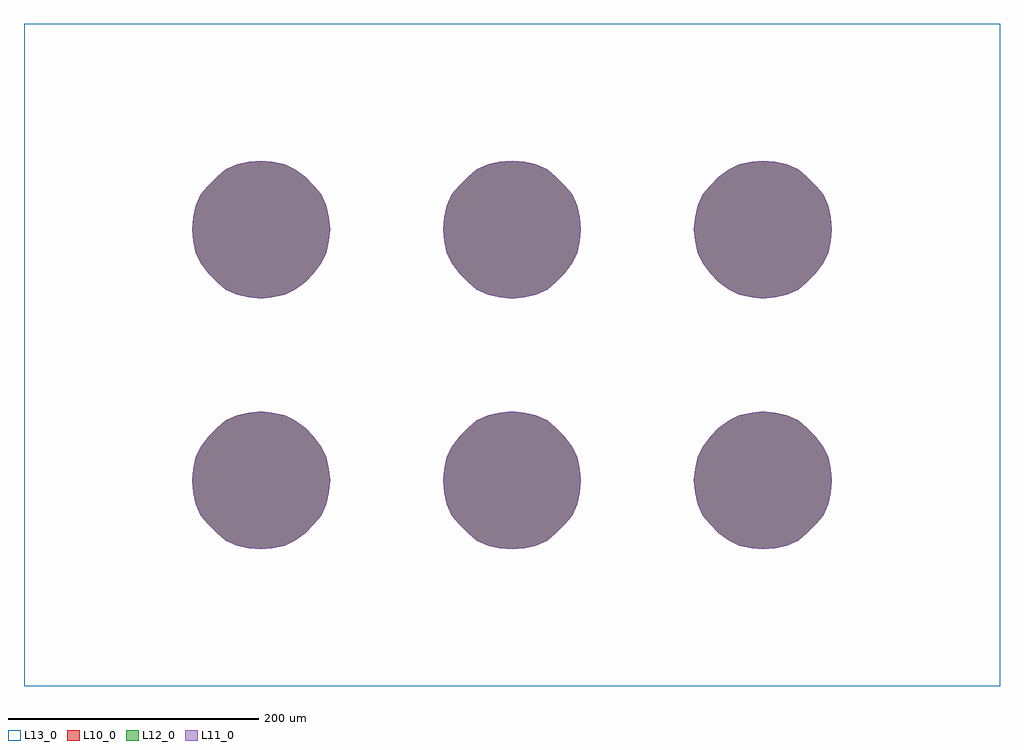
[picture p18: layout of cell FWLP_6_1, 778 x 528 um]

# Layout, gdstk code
import gdstk
lib = gdstk.Library(unit=1e-6, precision=1e-09)
def R(c, l, rs):  # rectangles x0, y0, x1, y1
    for r in rs: c.add(gdstk.rectangle(r[:2], r[2:], *l))
def P(c, l, *ps):  # polygons
    for p in ps: c.add(gdstk.Polygon(p, *l))
L10_0 = (10, 0)
L11_0 = (11, 0)
L12_0 = (12, 0)
L13_0 = (13, 0)

fwlp_6_1 = lib.new_cell('FWLP_6_1')
P(fwlp_6_1, L10_0, [(252,-119),(248,-128),(242,-135),(235,-142),(228,-148),(219,-152),(210,-154),(200,-155),(191,-154),(181,-152),(173,-148),(165,-142),(158,-135),(152,-128),(148,-119),(146,-110),(145,-100),(146,-91),(148,-81),(152,-73),(158,-65),(165,-58),(173,-52),(181,-48),(191,-46),(200,-45),(210,-46),(219,-48),(228,-52),(235,-58),(242,-65),(248,-73),(252,-81),(254,-91),(255,-100),(254,-110)],
  [(-148,81),(-152,73),(-158,65),(-165,58),(-173,52),(-181,48),(-191,46),(-200,45),(-210,46),(-219,48),(-228,52),(-235,58),(-242,65),(-248,73),(-252,81),(-254,91),(-255,100),(-254,110),(-252,119),(-248,128),(-242,135),(-235,142),(-228,148),(-219,152),(-210,154),(-200,155),(-191,154),(-181,152),(-173,148),(-165,142),(-158,135),(-152,128),(-148,119),(-146,110),(-145,100),(-146,91)],
  [(52,-119),(48,-128),(42,-135),(35,-142),(28,-148),(19,-152),(10,-154),(0,-155),(-10,-154),(-19,-152),(-28,-148),(-35,-142),(-42,-135),(-48,-128),(-52,-119),(-54,-110),(-55,-100),(-54,-91),(-52,-81),(-48,-73),(-42,-65),(-35,-58),(-28,-52),(-19,-48),(-10,-46),(0,-45),(10,-46),(19,-48),(28,-52),(35,-58),(42,-65),(48,-73),(52,-81),(54,-91),(55,-100),(54,-110)],
  [(-148,-119),(-152,-128),(-158,-135),(-165,-142),(-173,-148),(-181,-152),(-191,-154),(-200,-155),(-210,-154),(-219,-152),(-228,-148),(-235,-142),(-242,-135),(-248,-128),(-252,-119),(-254,-110),(-255,-100),(-254,-91),(-252,-81),(-248,-73),(-242,-65),(-235,-58),(-228,-52),(-219,-48),(-210,-46),(-200,-45),(-191,-46),(-181,-48),(-173,-52),(-165,-58),(-158,-65),(-152,-73),(-148,-81),(-146,-91),(-145,-100),(-146,-110)],
  [(252,81),(248,73),(242,65),(235,58),(228,52),(219,48),(210,46),(200,45),(191,46),(181,48),(173,52),(165,58),(158,65),(152,73),(148,81),(146,91),(145,100),(146,110),(148,119),(152,128),(158,135),(165,142),(173,148),(181,152),(191,154),(200,155),(210,154),(219,152),(228,148),(235,142),(242,135),(248,128),(252,119),(254,110),(255,100),(254,91)],
  [(52,81),(48,73),(42,65),(35,58),(28,52),(19,48),(10,46),(0,45),(-10,46),(-19,48),(-28,52),(-35,58),(-42,65),(-48,73),(-52,81),(-54,91),(-55,100),(-54,110),(-52,119),(-48,128),(-42,135),(-35,142),(-28,148),(-19,152),(-10,154),(0,155),(10,154),(19,152),(28,148),(35,142),(42,135),(48,128),(52,119),(54,110),(55,100),(54,91)])
P(fwlp_6_1, L11_0, [(52,-119),(48,-128),(42,-135),(35,-142),(28,-148),(19,-152),(10,-154),(0,-155),(-10,-154),(-19,-152),(-28,-148),(-35,-142),(-42,-135),(-48,-128),(-52,-119),(-54,-110),(-55,-100),(-54,-91),(-52,-81),(-48,-73),(-42,-65),(-35,-58),(-28,-52),(-19,-48),(-10,-46),(0,-45),(10,-46),(19,-48),(28,-52),(35,-58),(42,-65),(48,-73),(52,-81),(54,-91),(55,-100),(54,-110)],
  [(52,81),(48,73),(42,65),(35,58),(28,52),(19,48),(10,46),(0,45),(-10,46),(-19,48),(-28,52),(-35,58),(-42,65),(-48,73),(-52,81),(-54,91),(-55,100),(-54,110),(-52,119),(-48,128),(-42,135),(-35,142),(-28,148),(-19,152),(-10,154),(0,155),(10,154),(19,152),(28,148),(35,142),(42,135),(48,128),(52,119),(54,110),(55,100),(54,91)],
  [(252,81),(248,73),(242,65),(235,58),(228,52),(219,48),(210,46),(200,45),(191,46),(181,48),(173,52),(165,58),(158,65),(152,73),(148,81),(146,91),(145,100),(146,110),(148,119),(152,128),(158,135),(165,142),(173,148),(181,152),(191,154),(200,155),(210,154),(219,152),(228,148),(235,142),(242,135),(248,128),(252,119),(254,110),(255,100),(254,91)],
  [(-148,-119),(-152,-128),(-158,-135),(-165,-142),(-173,-148),(-181,-152),(-191,-154),(-200,-155),(-210,-154),(-219,-152),(-228,-148),(-235,-142),(-242,-135),(-248,-128),(-252,-119),(-254,-110),(-255,-100),(-254,-91),(-252,-81),(-248,-73),(-242,-65),(-235,-58),(-228,-52),(-219,-48),(-210,-46),(-200,-45),(-191,-46),(-181,-48),(-173,-52),(-165,-58),(-158,-65),(-152,-73),(-148,-81),(-146,-91),(-145,-100),(-146,-110)],
  [(252,-119),(248,-128),(242,-135),(235,-142),(228,-148),(219,-152),(210,-154),(200,-155),(191,-154),(181,-152),(173,-148),(165,-142),(158,-135),(152,-128),(148,-119),(146,-110),(145,-100),(146,-91),(148,-81),(152,-73),(158,-65),(165,-58),(173,-52),(181,-48),(191,-46),(200,-45),(210,-46),(219,-48),(228,-52),(235,-58),(242,-65),(248,-73),(252,-81),(254,-91),(255,-100),(254,-110)],
  [(-148,81),(-152,73),(-158,65),(-165,58),(-173,52),(-181,48),(-191,46),(-200,45),(-210,46),(-219,48),(-228,52),(-235,58),(-242,65),(-248,73),(-252,81),(-254,91),(-255,100),(-254,110),(-252,119),(-248,128),(-242,135),(-235,142),(-228,148),(-219,152),(-210,154),(-200,155),(-191,154),(-181,152),(-173,148),(-165,142),(-158,135),(-152,128),(-148,119),(-146,110),(-145,100),(-146,91)])
P(fwlp_6_1, L12_0, [(-148,-119),(-152,-128),(-158,-135),(-165,-142),(-173,-148),(-181,-152),(-191,-154),(-200,-155),(-210,-154),(-219,-152),(-228,-148),(-235,-142),(-242,-135),(-248,-128),(-252,-119),(-254,-110),(-255,-100),(-254,-91),(-252,-81),(-248,-73),(-242,-65),(-235,-58),(-228,-52),(-219,-48),(-210,-46),(-200,-45),(-191,-46),(-181,-48),(-173,-52),(-165,-58),(-158,-65),(-152,-73),(-148,-81),(-146,-91),(-145,-100),(-146,-110)],
  [(52,81),(48,73),(42,65),(35,58),(28,52),(19,48),(10,46),(0,45),(-10,46),(-19,48),(-28,52),(-35,58),(-42,65),(-48,73),(-52,81),(-54,91),(-55,100),(-54,110),(-52,119),(-48,128),(-42,135),(-35,142),(-28,148),(-19,152),(-10,154),(0,155),(10,154),(19,152),(28,148),(35,142),(42,135),(48,128),(52,119),(54,110),(55,100),(54,91)],
  [(-148,81),(-152,73),(-158,65),(-165,58),(-173,52),(-181,48),(-191,46),(-200,45),(-210,46),(-219,48),(-228,52),(-235,58),(-242,65),(-248,73),(-252,81),(-254,91),(-255,100),(-254,110),(-252,119),(-248,128),(-242,135),(-235,142),(-228,148),(-219,152),(-210,154),(-200,155),(-191,154),(-181,152),(-173,148),(-165,142),(-158,135),(-152,128),(-148,119),(-146,110),(-145,100),(-146,91)],
  [(252,-119),(248,-128),(242,-135),(235,-142),(228,-148),(219,-152),(210,-154),(200,-155),(191,-154),(181,-152),(173,-148),(165,-142),(158,-135),(152,-128),(148,-119),(146,-110),(145,-100),(146,-91),(148,-81),(152,-73),(158,-65),(165,-58),(173,-52),(181,-48),(191,-46),(200,-45),(210,-46),(219,-48),(228,-52),(235,-58),(242,-65),(248,-73),(252,-81),(254,-91),(255,-100),(254,-110)],
  [(252,81),(248,73),(242,65),(235,58),(228,52),(219,48),(210,46),(200,45),(191,46),(181,48),(173,52),(165,58),(158,65),(152,73),(148,81),(146,91),(145,100),(146,110),(148,119),(152,128),(158,135),(165,142),(173,148),(181,152),(191,154),(200,155),(210,154),(219,152),(228,148),(235,142),(242,135),(248,128),(252,119),(254,110),(255,100),(254,91)],
  [(52,-119),(48,-128),(42,-135),(35,-142),(28,-148),(19,-152),(10,-154),(0,-155),(-10,-154),(-19,-152),(-28,-148),(-35,-142),(-42,-135),(-48,-128),(-52,-119),(-54,-110),(-55,-100),(-54,-91),(-52,-81),(-48,-73),(-42,-65),(-35,-58),(-28,-52),(-19,-48),(-10,-46),(0,-45),(10,-46),(19,-48),(28,-52),(35,-58),(42,-65),(48,-73),(52,-81),(54,-91),(55,-100),(54,-110)])
R(fwlp_6_1, L13_0, [(-389,-264,389,264)])

lib.write_gds('FWLP_6_1.gds')
